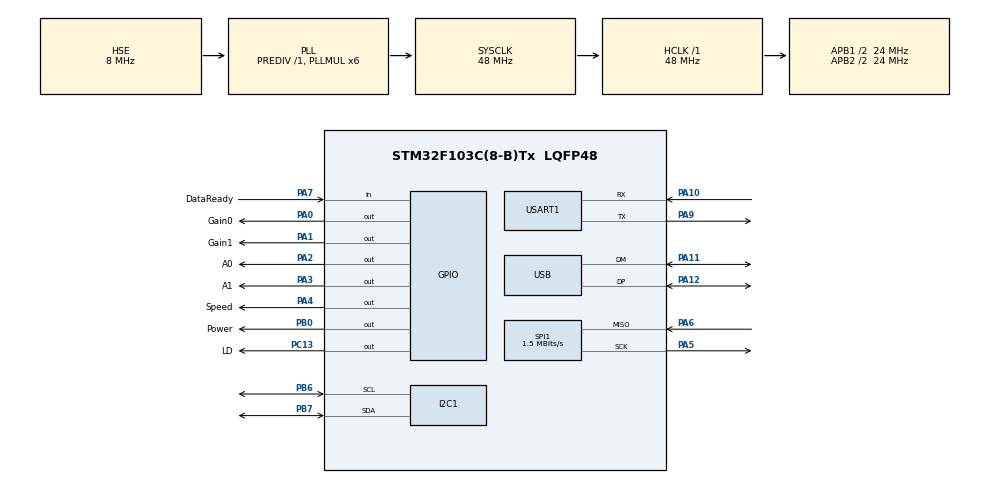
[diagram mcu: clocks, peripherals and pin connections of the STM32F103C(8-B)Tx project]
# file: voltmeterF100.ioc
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Mcu.Family=STM32F1
Mcu.Name=STM32F103C(8-B)Tx
Mcu.Package=LQFP48
NVIC.PriorityGroup=NVIC_PRIORITYGROUP_4
NVIC.TIM1_UP_IRQn=true\:0\:0\:false\:false\:true\:true\:true
NVIC.USB_LP_CAN1_RX0_IRQn=true\:0\:0\:false\:false\:true\:false\:true
PA0-WKUP.GPIO_Label=Gain0
PA0-WKUP.Signal=GPIO_Output
PA1.GPIO_Label=Gain1
PA1.Signal=GPIO_Output
PA10.Mode=Asynchronous
PA10.Signal=USART1_RX
PA11.Mode=Device
PA11.Signal=USB_DM
PA12.Mode=Device
PA12.Signal=USB_DP
PA13.Mode=Serial_Wire
PA13.Signal=SYS_JTMS-SWDIO
PA14.Mode=Serial_Wire
PA14.Signal=SYS_JTCK-SWCLK
PA2.GPIO_Label=A0
PA2.Signal=GPIO_Output
PA3.GPIO_Label=A1
PA3.Signal=GPIO_Output
PA4.GPIO_Label=Speed
PA4.Signal=GPIO_Output
PA5.Mode=RX_Only_Simplex_Unidirect_Master
PA5.Signal=SPI1_SCK
PA6.Mode=RX_Only_Simplex_Unidirect_Master
PA6.Signal=SPI1_MISO
PA7.GPIO_Label=DataReady
PA7.Signal=GPIO_Input
PA9.Mode=Asynchronous
PA9.Signal=USART1_TX
PB0.GPIO_Label=Power
PB0.Signal=GPIO_Output
PB6.Mode=I2C
PB6.Signal=I2C1_SCL
PB7.Mode=I2C
PB7.Signal=I2C1_SDA
PC13-TAMPER-RTC.GPIO_Label=LD
PC13-TAMPER-RTC.Signal=GPIO_Output
PD0-OSC_IN.Mode=HSE-External-Oscillator
PD0-OSC_IN.Signal=RCC_OSC_IN
PD1-OSC_OUT.Mode=HSE-External-Oscillator
PD1-OSC_OUT.Signal=RCC_OSC_OUT
ProjectManager.HeapSize=0x200
ProjectManager.StackSize=0x400
ProjectManager.TargetToolchain=SW4STM32
RCC.AHBFreq_Value=48000000
RCC.APB1CLKDivider=RCC_HCLK_DIV2
RCC.APB1Freq_Value=24000000
RCC.APB1TimFreq_Value=48000000
RCC.APB2CLKDivider=RCC_HCLK_DIV2
RCC.APB2Freq_Value=24000000
RCC.APB2TimFreq_Value=48000000
RCC.HCLKFreq_Value=48000000
RCC.PLLMUL=RCC_PLL_MUL6
RCC.SYSCLKFreq_VALUE=48000000
RCC.SYSCLKSource=RCC_SYSCLKSOURCE_PLLCLK
RCC.USBFreq_Value=48000000
SPI1.BaudRatePrescaler=SPI_BAUDRATEPRESCALER_16
SPI1.CalculateBaudRate=1.5 MBits/s
SPI1.Direction=SPI_DIRECTION_2LINES_RXONLY
SPI1.Mode=SPI_MODE_MASTER
SPI1.VirtualType=VM_MASTER
TIM1.Period=1000
TIM1.Prescaler=7200
USART1.VirtualMode=VM_ASYNC
USB_DEVICE.CLASS_NAME_FS=CDC
USB_DEVICE.VirtualMode=Cdc
USB_DEVICE.VirtualModeFS=Cdc_FS
VP_TIM1_VS_ClockSourceINT.Mode=Internal
VP_USB_DEVICE_VS_USB_DEVICE_CDC_FS.Mode=CDC_FS
board=voltmeterF100

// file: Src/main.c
/* USER CODE BEGIN Header */
/**
  ******************************************************************************
  * @file           : main.c
  * @brief          : Main program body
  ******************************************************************************
  * @attention
  *
  * <h2><center>&copy; Copyright (c) 2019 STMicroelectronics.
  * All rights reserved.</center></h2>
  *
  * This software component is licensed by ST under Ultimate Liberty license
  * SLA0044, the "License"; You may not use this file except in compliance with
  * the License. You may obtain a copy of the License at:
  *                             www.st.com/SLA0044
  *
  ******************************************************************************
  */
/* USER CODE END Header */

#include "main.h"
#include "usb_device.h"

I2C_HandleTypeDef hi2c1;

SPI_HandleTypeDef hspi1;

TIM_HandleTypeDef htim1;

UART_HandleTypeDef huart1;

/* USER CODE BEGIN PV */
/* Private variables ---------------------------------------------------------*/
uint8_t watchDogCnt = 0;
uint32_t sendIndex;
/* USER CODE END PV */

void SystemClock_Config(void);
static void MX_GPIO_Init(void);
static void MX_SPI1_Init(void);
static void MX_USART1_UART_Init(void);
static void MX_I2C1_Init(void);
static void MX_TIM1_Init(void);
/* USER CODE BEGIN PFP */
/* Private function prototypes -----------------------------------------------*/

/* USER CODE END PFP */

/* USER CODE BEGIN 0 */

void resetADC()
{
	HAL_GPIO_WritePin(Power_GPIO_Port, Power_Pin, RESET);

	int i;

	for(i = 0; i<20; i++)
	{
		HAL_Delay(10);
		HAL_GPIO_TogglePin(LD_GPIO_Port, LD_Pin);
	}
	HAL_GPIO_WritePin(Power_GPIO_Port, Power_Pin, SET);
	HAL_Delay(100);
	HAL_GPIO_TogglePin(LD_GPIO_Port, LD_Pin);
}

/* USER CODE END 0 */

int main(void)
{

  /* MCU Configuration--------------------------------------------------------*/

  /* Reset of all peripherals, Initializes the Flash interface and the Systick. */
  HAL_Init();

  /* Configure the system clock */
  SystemClock_Config();

  /* Initialize all configured peripherals */
  MX_GPIO_Init();
  MX_SPI1_Init();
  MX_USART1_UART_Init();
  MX_I2C1_Init();
  MX_USB_DEVICE_Init();
  MX_TIM1_Init();
  /* USER CODE BEGIN 2 */
  uint32_t i;

  for(i = 0; i<15; i++)
    {
  	  HAL_Delay(10);
  	  HAL_GPIO_TogglePin(LD_GPIO_Port, LD_Pin);
  	  HAL_Delay(90);
  	  HAL_GPIO_TogglePin(LD_GPIO_Port, LD_Pin);
    }

  HAL_GPIO_WritePin(Gain0_GPIO_Port, Gain0_Pin, SET);
  HAL_GPIO_WritePin(Gain1_GPIO_Port, Gain1_Pin, RESET);

  HAL_GPIO_WritePin(A0_GPIO_Port, A0_Pin, RESET);
  HAL_GPIO_WritePin(A1_GPIO_Port, A1_Pin, RESET);

  HAL_GPIO_WritePin(Speed_GPIO_Port, Speed_Pin, RESET);

  HAL_Delay(1000);
  HAL_GPIO_WritePin(LD_GPIO_Port, LD_Pin, RESET);
  HAL_GPIO_WritePin(Power_GPIO_Port, Power_Pin, RESET);

  for(i = 0; i<10; i++)
  {
	  HAL_Delay(100);
	  HAL_GPIO_TogglePin(LD_GPIO_Port, LD_Pin);
  }
  HAL_GPIO_WritePin(Power_GPIO_Port, Power_Pin, SET);

  uint8_t spiData[3];
  uint8_t spiDataBad[3];
  uint8_t spiDataFantom[3];

  uint8_t uartData[8];

  HAL_Delay(1000);
  /* USER CODE END 2 */

  /* Infinite loop */
  /* USER CODE BEGIN WHILE */
  HAL_TIM_Base_Start_IT(&htim1);

  uint8_t enterEn = 1;

  uint8_t prescaler = 0;

  sendIndex = 0;

  while (1)
  {
	  if(HAL_GPIO_ReadPin(DataReady_GPIO_Port, DataReady_Pin))
	  {
		  enterEn = 1;

		  while(HAL_GPIO_ReadPin(DataReady_GPIO_Port, DataReady_Pin)){
			  if(watchDogCnt>100)
				  resetADC();
		  }

		  if(!HAL_GPIO_ReadPin(DataReady_GPIO_Port, DataReady_Pin) && enterEn)
		  {
			  int16_t T = 10000;
			  while(T--);

			  HAL_GPIO_TogglePin(LD_GPIO_Port, LD_Pin);

			  HAL_SPI_TransmitReceive(&hspi1, spiDataFantom, spiData, 3, 10);

			  uartData[0] = sendIndex&0x000000FF;
			  uartData[1] = (sendIndex>>8) & 0x000000FF;
			  uartData[2] = (sendIndex>>16) & 0x000000FF;
			  uartData[3] = (sendIndex>>24) & 0x000000FF;

			  uartData[4] = 0xAA;

			  uartData[5] = spiData[0];
			  uartData[6] = spiData[1];
			  uartData[7] = spiData[2];

			  HAL_UART_Transmit(&huart1, uartData, 8, 1);
			  HAL_Delay(10);
			  enterEn = 0;
			  prescaler = 0;
			  watchDogCnt = 0;

		  }
	  }
	  if(watchDogCnt>10)
		  resetADC();
    /* USER CODE END WHILE */

  }
}

void SystemClock_Config(void)
{
  RCC_OscInitTypeDef RCC_OscInitStruct = {0};
  RCC_ClkInitTypeDef RCC_ClkInitStruct = {0};
  RCC_PeriphCLKInitTypeDef PeriphClkInit = {0};

  /** Initializes the CPU, AHB and APB busses clocks
  */
  RCC_OscInitStruct.OscillatorType = RCC_OSCILLATORTYPE_HSE;
  RCC_OscInitStruct.HSEState = RCC_HSE_ON;
  RCC_OscInitStruct.HSEPredivValue = RCC_HSE_PREDIV_DIV1;
  RCC_OscInitStruct.HSIState = RCC_HSI_ON;
  RCC_OscInitStruct.PLL.PLLState = RCC_PLL_ON;
  RCC_OscInitStruct.PLL.PLLSource = RCC_PLLSOURCE_HSE;
  RCC_OscInitStruct.PLL.PLLMUL = RCC_PLL_MUL6;
  if (HAL_RCC_OscConfig(&RCC_OscInitStruct) != HAL_OK)
  {
    Error_Handler();
  }
  /** Initializes the CPU, AHB and APB busses clocks
  */
  RCC_ClkInitStruct.ClockType = RCC_CLOCKTYPE_HCLK|RCC_CLOCKTYPE_SYSCLK
                              |RCC_CLOCKTYPE_PCLK1|RCC_CLOCKTYPE_PCLK2;
  RCC_ClkInitStruct.SYSCLKSource = RCC_SYSCLKSOURCE_PLLCLK;
  RCC_ClkInitStruct.AHBCLKDivider = RCC_SYSCLK_DIV1;
  RCC_ClkInitStruct.APB1CLKDivider = RCC_HCLK_DIV2;
  RCC_ClkInitStruct.APB2CLKDivider = RCC_HCLK_DIV2;

  if (HAL_RCC_ClockConfig(&RCC_ClkInitStruct, FLASH_LATENCY_1) != HAL_OK)
  {
    Error_Handler();
  }
  PeriphClkInit.PeriphClockSelection = RCC_PERIPHCLK_USB;
  PeriphClkInit.UsbClockSelection = RCC_USBCLKSOURCE_PLL;
  if (HAL_RCCEx_PeriphCLKConfig(&PeriphClkInit) != HAL_OK)
  {
    Error_Handler();
  }
}

static void MX_I2C1_Init(void)
{

  hi2c1.Instance = I2C1;
  hi2c1.Init.ClockSpeed = 100000;
  hi2c1.Init.DutyCycle = I2C_DUTYCYCLE_2;
  hi2c1.Init.OwnAddress1 = 0;
  hi2c1.Init.AddressingMode = I2C_ADDRESSINGMODE_7BIT;
  hi2c1.Init.DualAddressMode = I2C_DUALADDRESS_DISABLE;
  hi2c1.Init.OwnAddress2 = 0;
  hi2c1.Init.GeneralCallMode = I2C_GENERALCALL_DISABLE;
  hi2c1.Init.NoStretchMode = I2C_NOSTRETCH_DISABLE;
  if (HAL_I2C_Init(&hi2c1) != HAL_OK)
  {
    Error_Handler();
  }

}

static void MX_SPI1_Init(void)
{

  /* SPI1 parameter configuration*/
  hspi1.Instance = SPI1;
  hspi1.Init.Mode = SPI_MODE_MASTER;
  hspi1.Init.Direction = SPI_DIRECTION_2LINES;
  hspi1.Init.DataSize = SPI_DATASIZE_8BIT;
  hspi1.Init.CLKPolarity = SPI_POLARITY_LOW;
  hspi1.Init.CLKPhase = SPI_PHASE_1EDGE;
  hspi1.Init.NSS = SPI_NSS_SOFT;
  hspi1.Init.BaudRatePrescaler = SPI_BAUDRATEPRESCALER_16;
  hspi1.Init.FirstBit = SPI_FIRSTBIT_MSB;
  hspi1.Init.TIMode = SPI_TIMODE_DISABLE;
  hspi1.Init.CRCCalculation = SPI_CRCCALCULATION_DISABLE;
  hspi1.Init.CRCPolynomial = 10;
  if (HAL_SPI_Init(&hspi1) != HAL_OK)
  {
    Error_Handler();
  }

}

static void MX_TIM1_Init(void)
{

  TIM_ClockConfigTypeDef sClockSourceConfig = {0};
  TIM_MasterConfigTypeDef sMasterConfig = {0};

  htim1.Instance = TIM1;
  htim1.Init.Prescaler = 720;
  htim1.Init.CounterMode = TIM_COUNTERMODE_UP;
  htim1.Init.Period = 1000;
  htim1.Init.ClockDivision = TIM_CLOCKDIVISION_DIV1;
  htim1.Init.RepetitionCounter = 0;
  htim1.Init.AutoReloadPreload = TIM_AUTORELOAD_PRELOAD_DISABLE;
  if (HAL_TIM_Base_Init(&htim1) != HAL_OK)
  {
    Error_Handler();
  }
  sClockSourceConfig.ClockSource = TIM_CLOCKSOURCE_INTERNAL;
  if (HAL_TIM_ConfigClockSource(&htim1, &sClockSourceConfig) != HAL_OK)
  {
    Error_Handler();
  }
  sMasterConfig.MasterOutputTrigger = TIM_TRGO_RESET;
  sMasterConfig.MasterSlaveMode = TIM_MASTERSLAVEMODE_DISABLE;
  if (HAL_TIMEx_MasterConfigSynchronization(&htim1, &sMasterConfig) != HAL_OK)
  {
    Error_Handler();
  }

}

static void MX_USART1_UART_Init(void)
{

  huart1.Instance = USART1;
  huart1.Init.BaudRate = 115200;
  huart1.Init.WordLength = UART_WORDLENGTH_8B;
  huart1.Init.StopBits = UART_STOPBITS_1;
  huart1.Init.Parity = UART_PARITY_NONE;
  huart1.Init.Mode = UART_MODE_TX_RX;
  huart1.Init.HwFlowCtl = UART_HWCONTROL_NONE;
  huart1.Init.OverSampling = UART_OVERSAMPLING_16;
  if (HAL_UART_Init(&huart1) != HAL_OK)
  {
    Error_Handler();
  }

}

static void MX_GPIO_Init(void)
{
  GPIO_InitTypeDef GPIO_InitStruct = {0};

  /* GPIO Ports Clock Enable */
  __HAL_RCC_GPIOC_CLK_ENABLE();
  __HAL_RCC_GPIOD_CLK_ENABLE();
  __HAL_RCC_GPIOA_CLK_ENABLE();
  __HAL_RCC_GPIOB_CLK_ENABLE();

  /*Configure GPIO pin Output Level */
  HAL_GPIO_WritePin(LD_GPIO_Port, LD_Pin, GPIO_PIN_RESET);

  /*Configure GPIO pin Output Level */
  HAL_GPIO_WritePin(GPIOA, Gain0_Pin|Gain1_Pin|A0_Pin|A1_Pin
                          |Speed_Pin, GPIO_PIN_RESET);

  /*Configure GPIO pin Output Level */
  HAL_GPIO_WritePin(Power_GPIO_Port, Power_Pin, GPIO_PIN_RESET);

  /*Configure GPIO pin : LD_Pin */
  GPIO_InitStruct.Pin = LD_Pin;
  GPIO_InitStruct.Mode = GPIO_MODE_OUTPUT_PP;
  GPIO_InitStruct.Pull = GPIO_NOPULL;
  GPIO_InitStruct.Speed = GPIO_SPEED_FREQ_LOW;
  HAL_GPIO_Init(LD_GPIO_Port, &GPIO_InitStruct);

  /*Configure GPIO pins : Gain0_Pin Gain1_Pin A0_Pin A1_Pin
                           Speed_Pin */
  GPIO_InitStruct.Pin = Gain0_Pin|Gain1_Pin|A0_Pin|A1_Pin
                          |Speed_Pin;
  GPIO_InitStruct.Mode = GPIO_MODE_OUTPUT_PP;
  GPIO_InitStruct.Pull = GPIO_NOPULL;
  GPIO_InitStruct.Speed = GPIO_SPEED_FREQ_LOW;
  HAL_GPIO_Init(GPIOA, &GPIO_InitStruct);

  /*Configure GPIO pin : DataReady_Pin */
  GPIO_InitStruct.Pin = DataReady_Pin;
  GPIO_InitStruct.Mode = GPIO_MODE_INPUT;
  GPIO_InitStruct.Pull = GPIO_NOPULL;
  HAL_GPIO_Init(DataReady_GPIO_Port, &GPIO_InitStruct);

  /*Configure GPIO pin : Power_Pin */
  GPIO_InitStruct.Pin = Power_Pin;
  GPIO_InitStruct.Mode = GPIO_MODE_OUTPUT_PP;
  GPIO_InitStruct.Pull = GPIO_NOPULL;
  GPIO_InitStruct.Speed = GPIO_SPEED_FREQ_LOW;
  HAL_GPIO_Init(Power_GPIO_Port, &GPIO_InitStruct);

}

void Error_Handler(void)
{
  while(1)
  {
  }
}

/************************ (C) COPYRIGHT STMicroelectronics *****END OF FILE****/
